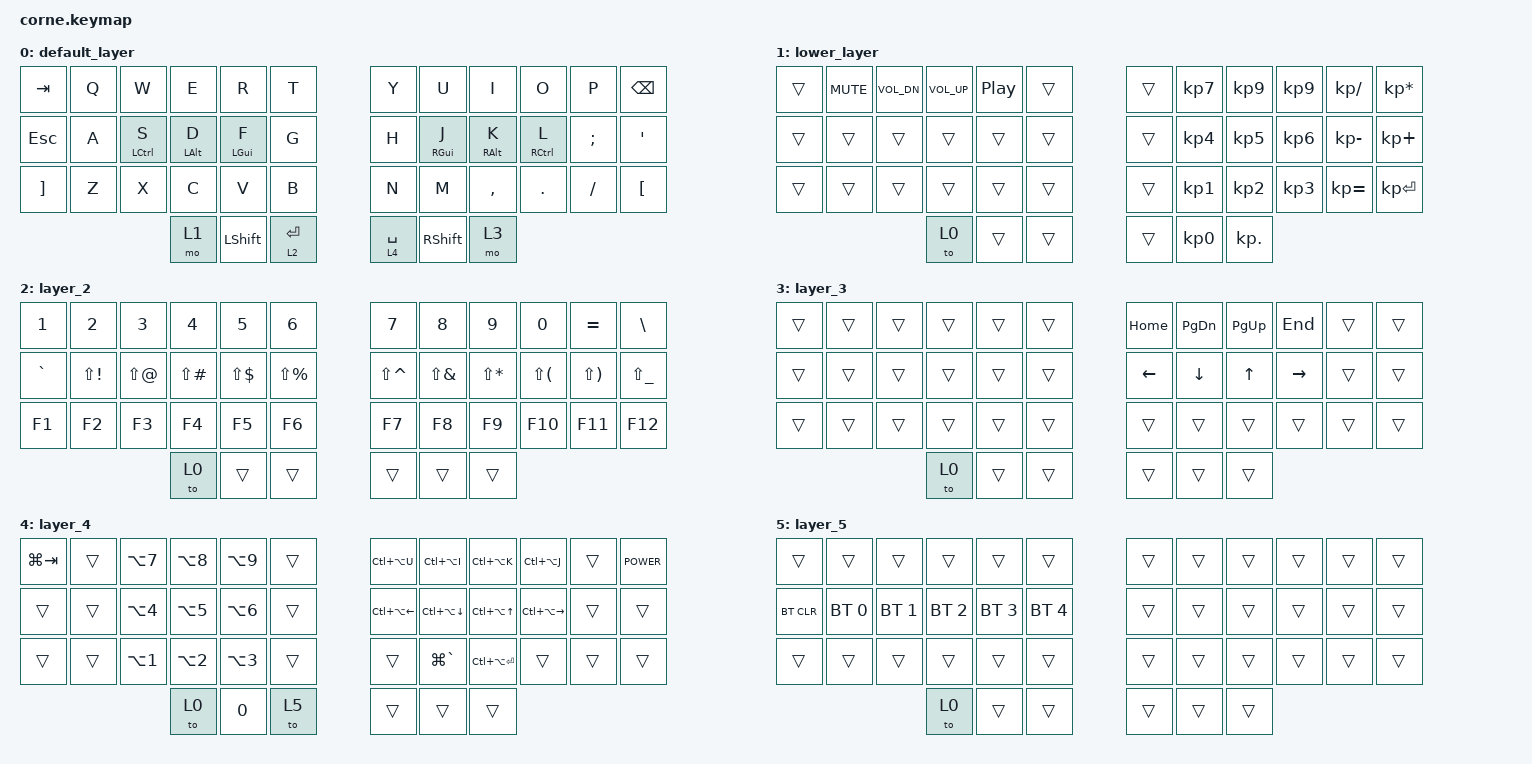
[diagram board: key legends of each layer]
/*
 * Copyright (c) 2020 The ZMK Contributors
 *
 * SPDX-License-Identifier: MIT
 */

#include <behaviors.dtsi>
#include <dt-bindings/zmk/bt.h>
#include <dt-bindings/zmk/keys.h>

/ {
    behaviors {
        hml: hml {
            compatible = "zmk,behavior-hold-tap";
            label = "HML";
            bindings = <&kp>, <&kp>;

            #binding-cells = <2>;
            flavor = "balanced";
            tapping-term-ms = <280>;
            quick-tap-ms = <175>;
            require-prior-idle-ms = <150>;
            hold-trigger-on-release;
            hold-trigger-key-positions = <6 7 8 9 10 11 18 19 20 21 22 23 30 31 32 33 34 35 39 40 41 36 37 38>;
        };

        hmr: hmr {
            compatible = "zmk,behavior-hold-tap";
            label = "HMR";
            bindings = <&kp>, <&kp>;

            #binding-cells = <2>;
            tapping-term-ms = <280>;
            quick-tap-ms = <175>;
            require-prior-idle-ms = <150>;
            flavor = "balanced";
            hold-trigger-key-positions = <0 1 2 3 4 5 12 13 14 15 16 17 24 25 26 27 28 29 36 37 38 39 40 41>;
            hold-trigger-on-release;
        };
    };

    keymap {
        compatible = "zmk,keymap";

        default_layer {
            // -----------------------------------------------------------------------------------------
            // |  TAB |  Q  |  W  |  E  |  R  |  T  |   |  Y  |  U   |  I  |  O  |  P  | BKSP |
            // | CTRL |  A  |  S  |  D  |  F  |  G  |   |  H  |  J   |  K  |  L  |  ;  |  '   |
            // | SHFT |  Z  |  X  |  C  |  V  |  B  |   |  N  |  M   |  ,  |  .  |  /  | ESC  |
            //                    | GUI | LWR | SPC |   | ENT | RSE  | ALT |

            bindings = <
&kp TAB   &kp Q  &kp W         &kp E            &kp R            &kp T        &kp Y        &kp U             &kp I             &kp O         &kp P     &kp BSPC
&kp ESC   &kp A  &hml LCTRL S  &hml LEFT_ALT D  &hml LEFT_GUI F  &kp G        &kp H        &hmr RIGHT_GUI J  &hmr RIGHT_ALT K  &hmr RCTRL L  &kp SEMI  &kp SQT
&kp RBKT  &kp Z  &kp X         &kp C            &kp V            &kp B        &kp N        &kp M             &kp COMMA         &kp DOT       &kp FSLH  &kp LBKT
                               &mo 1            &kp LSHIFT       &lt 2 RET    &lt 4 SPACE  &kp RIGHT_SHIFT   &mo 3
            >;
        };

        lower_layer {
            // -----------------------------------------------------------------------------------------
            // |  TAB |  1  |  2  |  3  |  4  |  5  |   |  6  |  7  |  8  |  9  |  0  | BKSP |
            // | BTCLR| BT1 | BT2 | BT3 | BT4 | BT5 |   | LFT | DWN |  UP | RGT |     |      |
            // | SHFT |     |     |     |     |     |   |     |     |     |     |     |      |
            //                    | GUI |     | SPC |   | ENT |     | ALT |

            bindings = <
&trans  &kp C_MUTE  &kp C_VOL_DN  &kp C_VOL_UP  &kp C_PLAY_PAUSE  &trans    &trans  &kp KP_NUMBER_7  &kp KP_NUMBER_9  &kp KP_NUMBER_9  &kp KP_DIVIDE  &kp KP_MULTIPLY
&trans  &trans      &trans        &trans        &trans            &trans    &trans  &kp KP_NUMBER_4  &kp KP_NUMBER_5  &kp KP_NUMBER_6  &kp KP_MINUS   &kp KP_PLUS
&trans  &trans      &trans        &trans        &trans            &trans    &trans  &kp KP_NUMBER_1  &kp KP_NUMBER_2  &kp KP_NUMBER_3  &kp KP_EQUAL   &kp KP_ENTER
                                  &to 0         &trans            &trans    &trans  &kp KP_NUMBER_0  &kp KP_DOT
            >;
        };

        layer_2 {
            bindings = <
&kp N1     &kp N2        &kp N3      &kp N4         &kp N5        &kp N6           &kp N7         &kp N8        &kp N9        &kp N0        &kp EQUAL     &kp BSLH
&kp GRAVE  &kp LS(EXCL)  &kp LS(AT)  &kp LS(POUND)  &kp LS(DLLR)  &kp LS(PRCNT)    &kp LS(CARET)  &kp LS(AMPS)  &kp LS(STAR)  &kp LS(LPAR)  &kp LS(RPAR)  &kp LS(UNDER)
&kp F1     &kp F2        &kp F3      &kp F4         &kp F5        &kp F6           &kp F7         &kp F8        &kp F9        &kp F10       &kp F11       &kp F12
                                     &to 0          &trans        &trans           &trans         &trans        &trans
            >;
        };

        layer_3 {
            bindings = <
&trans  &trans  &trans  &trans  &trans  &trans    &kp HOME  &kp PG_DN  &kp PG_UP  &kp END    &trans  &trans
&trans  &trans  &trans  &trans  &trans  &trans    &kp LEFT  &kp DOWN   &kp UP     &kp RIGHT  &trans  &trans
&trans  &trans  &trans  &trans  &trans  &trans    &trans    &trans     &trans     &trans     &trans  &trans
                        &to 0   &trans  &trans    &trans    &trans     &trans
            >;
        };

        layer_4 {
            bindings = <
&kp LG(TAB)  &trans  &kp LA(N7)  &kp LA(N8)  &kp LA(N9)  &trans    &kp LC(LA(U))     &kp LC(LA(I))     &kp LC(LA(K))      &kp LC(LA(J))      &trans  &kp K_POWER
&trans       &trans  &kp LA(N4)  &kp LA(N5)  &kp LA(N6)  &trans    &kp LC(LA(LEFT))  &kp LC(LA(DOWN))  &kp LC(LA(UP))     &kp LC(LA(RIGHT))  &trans  &trans
&trans       &trans  &kp LA(N1)  &kp LA(N2)  &kp LA(N3)  &trans    &trans            &kp LG(GRAVE)     &kp LC(LA(ENTER))  &trans             &trans  &trans
                                 &to 0       &kp N0      &to 5     &trans            &trans            &trans
            >;
        };

        layer_5 {
            bindings = <
&trans      &trans        &trans        &trans        &trans        &trans          &trans  &trans  &trans  &trans  &trans  &trans
&bt BT_CLR  &bt BT_SEL 0  &bt BT_SEL 1  &bt BT_SEL 2  &bt BT_SEL 3  &bt BT_SEL 4    &trans  &trans  &trans  &trans  &trans  &trans
&trans      &trans        &trans        &trans        &trans        &trans          &trans  &trans  &trans  &trans  &trans  &trans
                                        &to 0         &trans        &trans          &trans  &trans  &trans
            >;
        };
    };
};
